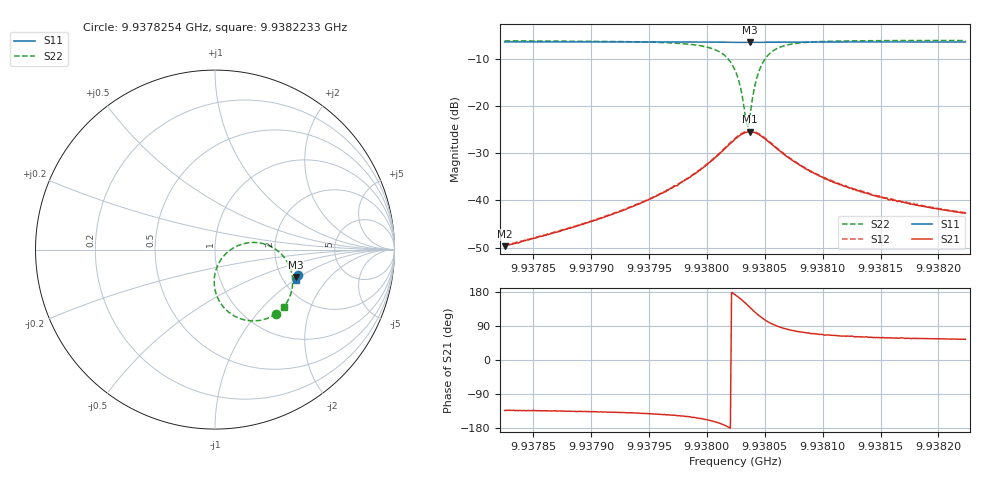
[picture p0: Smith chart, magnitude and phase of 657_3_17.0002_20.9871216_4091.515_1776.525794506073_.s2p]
#  HZ  S  RI  R  50.00
! Rohde & Schwarz Vector Network Analyzer
! Rohde-Schwarz,ZNB20-2Port,1311601062101988,3.16
! Created: UTC 3/20/2024, 11:21:36 PM
! freq[Hz]  re:S11  im:S11  re:S21  im:S21  re:S12  im:S12  re:S22  im:S22
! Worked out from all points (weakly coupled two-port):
!   401 points, 9.9378254 GHz to 9.9382233 GHz, reference 50 ohm
!   highest |S21| = -25.42 dB at 9.9380373 GHz (marker M1); lowest = -49.7 dB at 9.9378254 GHz (marker M2)
!   lowest |S11| = -6.5 dB at 9.9380373 GHz (marker M3), VSWR 2.80, Z = 118 - j46.7 ohm
!   |S11| at or under -10 dB: nowhere
!   |S22| runs from -24.4 to -6.1 dB; largest |S21 - S12| = 0.0017
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9.93782536e9  0.4597 -0.1426  -0.00222 -0.0024  -0.0023 -0.0024  0.3403 -0.357
9.93789202e9  0.4579 -0.1473  -0.004 -0.00386  -0.00408 -0.00386  0.3208 -0.3694
9.93792883e9  0.4566 -0.1498  -0.00597 -0.00521  -0.00614 -0.00524  0.301 -0.3791
9.93795867e9  0.4556 -0.1522  -0.00915 -0.0069  -0.00937 -0.00689  0.272 -0.3894
9.93798553e9  0.4542 -0.1543  -0.0152 -0.0088  -0.0157 -0.00877  0.2185 -0.3974
9.93800543e9  0.4523 -0.1557  -0.0256 -0.00857  -0.0264 -0.00838  0.1337 -0.3822
9.93801637e9  0.4509 -0.1562  -0.0359 -0.00404  -0.0367 -0.00366  0.058 -0.332
9.93802433e9  0.4495 -0.1557  -0.0443 0.00581  -0.0451 0.0065  0.00446 -0.2409
9.93802831e9  0.449 -0.155  -0.0466 0.0141  -0.0474 0.0149  -0.00462 -0.1721
9.93803428e9  0.4486 -0.1537  -0.0445 0.0286  -0.0451 0.0301  0.0332 -0.0559
9.93803528e9  0.4487 -0.1535  -0.0432 0.0312  -0.0437 0.0325  0.0464 -0.038
9.93803727e9  0.4488 -0.1529  -0.0402 0.0354  -0.0405 0.037  0.0783 -0.00739
9.93804025e9  0.4493 -0.1523  -0.034 0.0406  -0.034 0.0422  0.1357 0.0253
9.93804323e9  0.45 -0.1521  -0.0271 0.0436  -0.0268 0.0452  0.1968 0.0392
9.93804721e9  0.4509 -0.152  -0.0182 0.0444  -0.0176 0.0458  0.2708 0.0323
9.93805219e9  0.4519 -0.1524  -0.00891 0.042  -0.00812 0.0431  0.3403 -0.000212
9.93805816e9  0.4527 -0.1533  -0.00183 0.0374  -0.000901 0.0382  0.3905 -0.0495
9.93806612e9  0.4533 -0.1541  0.00337 0.0309  0.00397 0.0315  0.4213 -0.1089
9.93809099e9  0.4535 -0.1572  0.0069 0.0186  0.00728 0.0188  0.4296 -0.2143
9.93812282e9  0.4525 -0.16  0.00622 0.0121  0.00663 0.012  0.4139 -0.2674
9.93815764e9  0.4516 -0.1627  0.00525 0.00864  0.00565 0.00889  0.4002 -0.2936
9.9382233e9  0.4497 -0.1672  0.00423 0.00597  0.00441 0.00596  0.3836 -0.3174
